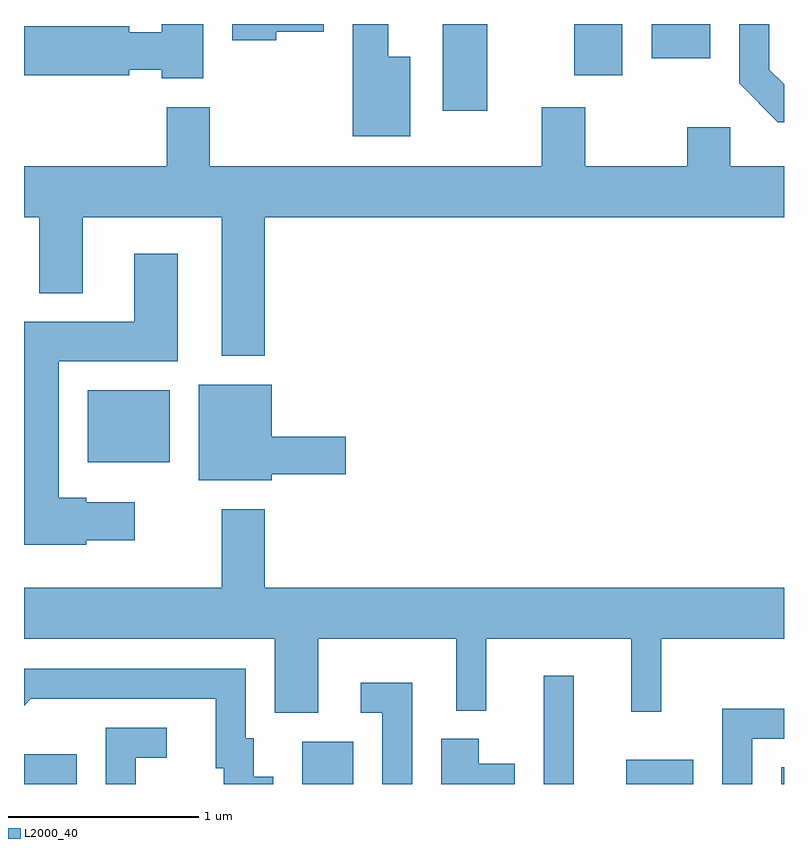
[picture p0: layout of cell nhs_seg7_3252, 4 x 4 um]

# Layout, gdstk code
import gdstk
lib = gdstk.Library(unit=1e-6, precision=1e-09)
def R(c, l, rs):  # rectangles x0, y0, x1, y1
    for r in rs: c.add(gdstk.rectangle(r[:2], r[2:], *l))
def P(c, l, *ps):  # polygons
    for p in ps: c.add(gdstk.Polygon(p, *l))
L2000_40 = (2000, 40)

nhs_seg7_3252 = lib.new_cell('nhs_seg7_3252')
R(nhs_seg7_3252, L2000_40, [(285.611,1680.252,285.889,1680.409), (287.076,1680.252,287.344,1680.474), (288.346,1680.252,288.504,1680.823), (288.781,1680.252,289.134,1680.379), (289.596,1680.252,289.611,1680.339), (285.946,1681.946,286.379,1682.324), (287.816,1683.796,288.049,1684.252), (288.506,1683.981,288.759,1684.252), (288.916,1684.071,289.224,1684.252)])
P(nhs_seg7_3252, L2000_40, [(286.939,1684.211),(287.189,1684.211),(287.189,1684.252),(286.706,1684.252),(286.706,1684.166),(286.939,1684.166)],
  [(286.554,1684.252),(286.336,1684.252),(286.336,1684.209),(286.164,1684.209),(286.164,1684.239),(285.611,1684.239),(285.611,1683.981),(286.164,1683.981),(286.164,1684.011),(286.336,1684.011),(286.336,1683.966),(286.554,1683.966)],
  [(287.644,1684.079),(287.529,1684.079),(287.529,1684.252),(287.341,1684.252),(287.341,1683.661),(287.644,1683.661)],
  [(289.611,1683.935),(289.534,1684.012),(289.534,1684.252),(289.376,1684.252),(289.376,1683.939),(289.579,1683.736),(289.611,1683.736)],
  [(286.879,1683.236),(289.611,1683.236),(289.611,1683.504),(289.329,1683.504),(289.329,1683.709),(289.101,1683.709),(289.101,1683.504),(288.564,1683.504),(288.564,1683.814),(288.336,1683.814),(288.336,1683.504),(286.589,1683.504),(286.589,1683.814),(286.361,1683.814),(286.361,1683.504),(285.611,1683.504),(285.611,1683.236),(285.691,1683.236),(285.691,1682.836),(285.919,1682.836),(285.919,1683.236),(286.651,1683.236),(286.651,1682.506),(286.879,1682.506)],
  [(285.939,1681.536),(286.194,1681.536),(286.194,1681.734),(285.939,1681.734),(285.939,1681.759),(285.794,1681.759),(285.794,1682.476),(286.419,1682.476),(286.419,1683.044),(286.191,1683.044),(286.191,1682.684),(285.611,1682.684),(285.611,1681.511),(285.939,1681.511)],
  [(286.914,1681.881),(287.304,1681.881),(287.304,1682.079),(286.914,1682.079),(286.914,1682.354),(286.531,1682.354),(286.531,1681.851),(286.914,1681.851)],
  [(287.159,1681.016),(287.886,1681.016),(287.886,1680.638),(288.044,1680.638),(288.044,1681.016),(288.806,1681.016),(288.806,1680.633),(288.964,1680.633),(288.964,1681.016),(289.611,1681.016),(289.611,1681.284),(286.879,1681.284),(286.879,1681.699),(286.651,1681.699),(286.651,1681.284),(285.611,1681.284),(285.611,1681.016),(286.931,1681.016),(286.931,1680.626),(287.159,1680.626)],
  [(286.924,1680.289),(286.819,1680.289),(286.819,1680.494),(286.779,1680.494),(286.779,1680.859),(285.611,1680.859),(285.611,1680.665),(285.647,1680.701),(286.621,1680.701),(286.621,1680.336),(286.661,1680.336),(286.661,1680.252),(286.924,1680.252)],
  [(287.654,1680.784),(287.383,1680.784),(287.383,1680.626),(287.496,1680.626),(287.496,1680.252),(287.654,1680.252)],
  [(289.444,1680.491),(289.611,1680.491),(289.611,1680.649),(289.286,1680.649),(289.286,1680.252),(289.444,1680.252)],
  [(286.199,1680.391),(286.363,1680.391),(286.363,1680.549),(286.041,1680.549),(286.041,1680.252),(286.199,1680.252)],
  [(288.194,1680.359),(288.004,1680.359),(288.004,1680.489),(287.806,1680.489),(287.806,1680.252),(288.194,1680.252)])

lib.write_gds('nhs_seg7_3252.gds')
